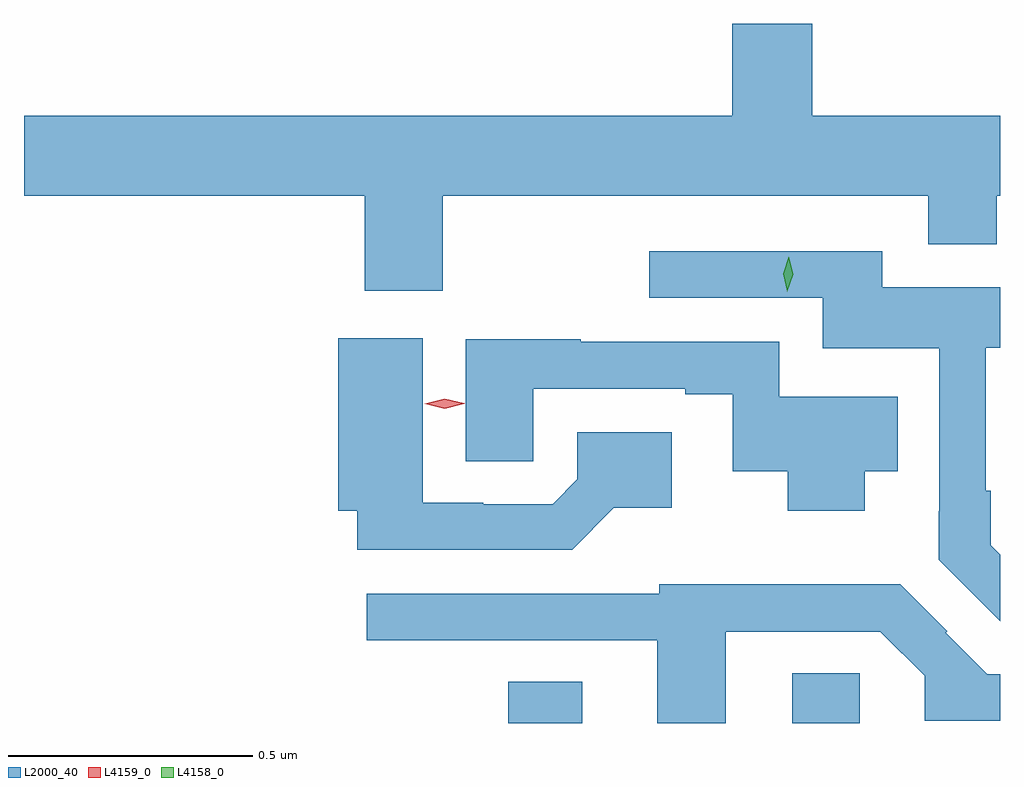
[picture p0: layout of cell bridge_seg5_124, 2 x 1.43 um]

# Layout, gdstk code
import gdstk
lib = gdstk.Library(unit=1e-6, precision=1e-09)
def R(c, l, rs):  # rectangles x0, y0, x1, y1
    for r in rs: c.add(gdstk.rectangle(r[:2], r[2:], *l))
def P(c, l, *ps):  # polygons
    for p in ps: c.add(gdstk.Polygon(p, *l))
L2000_40 = (2000, 40)
L4158_0 = (4158, 0)
L4159_0 = (4159, 0)

bridge_seg5_124 = lib.new_cell('bridge_seg5_124')
R(bridge_seg5_124, L2000_40, [(464.249,842.359,464.401,842.444), (464.831,842.359,464.97,842.462)])
P(bridge_seg5_124, L2000_40, [(464.872,843.793),(464.708,843.793),(464.708,843.604),(463.257,843.604),(463.257,843.44),(463.955,843.44),(463.955,843.246),(464.115,843.246),(464.115,843.44),(465.11,843.44),(465.11,843.341),(465.25,843.341),(465.25,843.44),(465.257,843.44),(465.257,843.604),(464.872,843.604)],
  [(465.257,842.705),(465.238,842.724),(465.238,842.836),(465.228,842.836),(465.228,843.129),(465.257,843.129),(465.257,843.253),(465.016,843.253),(465.016,843.327),(464.538,843.327),(464.538,843.231),(464.894,843.231),(464.894,843.128),(465.132,843.128),(465.132,842.794),(465.131,842.794),(465.131,842.694),(465.257,842.568)],
  [(464.466,842.801),(464.584,842.801),(464.584,842.956),(464.391,842.956),(464.391,842.859),(464.34,842.808),(464.198,842.808),(464.198,842.811),(464.074,842.811),(464.074,843.148),(463.901,843.148),(463.901,842.795),(463.94,842.795),(463.94,842.715),(464.38,842.715)],
  [(464.98,842.876),(465.047,842.876),(465.047,843.028),(464.805,843.028),(464.805,843.141),(464.398,843.141),(464.398,843.146),(464.162,843.146),(464.162,842.896),(464.301,842.896),(464.301,843.045),(464.612,843.045),(464.612,843.033),(464.709,843.033),(464.709,842.876),(464.822,842.876),(464.822,842.795),(464.98,842.795)],
  [(464.695,842.547),(465.012,842.547),(465.103,842.457),(465.103,842.364),(465.257,842.364),(465.257,842.46),(465.231,842.46),(465.146,842.545),(465.149,842.548),(465.053,842.644),(464.559,842.644),(464.559,842.625),(463.959,842.625),(463.959,842.529),(464.555,842.529),(464.555,842.359),(464.695,842.359)])
P(bridge_seg5_124, L4158_0, [(464.821,843.244),(464.821,843.245),(464.813,843.28),(464.824,843.315),(464.824,843.315),(464.824,843.315),(464.833,843.279),(464.821,843.245)])
P(bridge_seg5_124, L4159_0, [(464.119,843.004),(464.078,843.014),(464.078,843.014),(464.078,843.014),(464.119,843.024),(464.159,843.015),(464.16,843.015),(464.159,843.014)])

lib.write_gds('bridge_seg5_124.gds')
